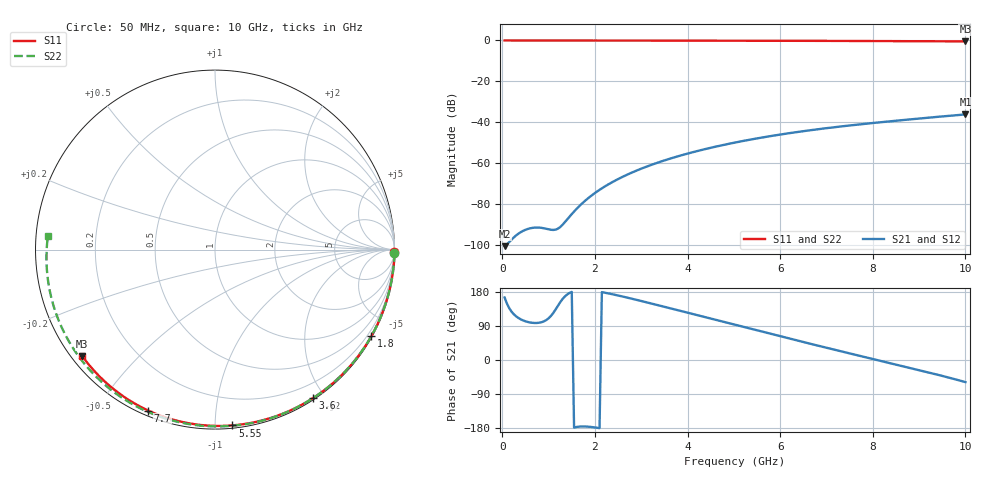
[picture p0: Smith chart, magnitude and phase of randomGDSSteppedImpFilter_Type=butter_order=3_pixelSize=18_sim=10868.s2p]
! freq	dB(S11)	phase(S11)	dB(S12)	phase(S12)
!  dB(S21)	phase(S21)	dB(S22)	phase(S22)
!S-par simulation data
#  GHz  S  DB  R 50
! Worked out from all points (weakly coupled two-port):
!   200 points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, 50 MHz to 10 GHz, reference 50 ohm
!   highest |S21| = -36.23 dB at 10 GHz (marker M1); lowest = -100.8 dB at 50 MHz (marker M2)
!   lowest |S11| = -0.5 dB at 10 GHz (marker M3), VSWR 37.73, Z = 1.49 - j17.6 ohm
!   |S11| at or under -10 dB: nowhere
!   |S22| runs from -0.6 to 0.0 dB; largest |S21 - S12| = 0
!   S11 on the Smith chart (normalised r, x): 50 MHz: open; 1.8 GHz: 0.03, -3.87; 3.6 GHz: 0.02, -1.86; 5.55 GHz: 0.02, -1.10; 7.7 GHz: 0.02, -0.67; 10 GHz: 0.03, -0.35
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0.05  -0.00 -0.8  -100.75 165.0  -100.75 165.0  -0.00 -1.1
0.45  -0.01 -7.3  -93.25 104.4  -93.25 104.4  -0.01 -9.7
0.85  -0.02 -13.8  -91.79 99.8  -91.79 99.8  -0.02 -18.2
1.25  -0.03 -20.2  -91.40 152.4  -91.40 152.4  -0.03 -26.7
1.7  -0.03 -27.4  -80.32 -175.5  -80.32 -175.5  -0.05 -36.0
1.75  -0.04 -28.2  -79.27 -175.4  -79.27 -175.4  -0.05 -37.1
1.8  -0.04 -29.0  -78.28 -175.5  -78.28 -175.5  -0.05 -38.1
2.1  -0.04 -33.7  -73.16 -179.8  -73.16 -179.8  -0.06 -44.2
2.3  -0.05 -36.8  -70.35 175.5  -70.35 175.5  -0.06 -48.3
2.5  -0.05 -39.9  -67.89 170.3  -67.89 170.3  -0.07 -52.3
2.9  -0.06 -46.0  -63.72 158.7  -63.72 158.7  -0.08 -60.2
3.4  -0.07 -53.6  -59.50 143.5  -59.50 143.5  -0.09 -69.9
3.6  -0.08 -56.5  -58.04 137.3  -58.04 137.3  -0.10 -73.7
4.3  -0.09 -66.8  -53.65 115.4  -53.65 115.4  -0.12 -86.7
5.05  -0.12 -77.4  -49.89 92.1  -49.89 92.1  -0.15 -100.2
5.55  -0.14 -84.3  -47.77 76.6  -47.77 76.6  -0.18 -108.9
6.1  -0.16 -91.7  -45.74 59.6  -45.74 59.6  -0.21 -118.3
6.7  -0.19 -99.7  -43.82 41.4  -43.82 41.4  -0.25 -128.5
7.7  -0.26 -112.5  -41.15 11.6  -41.15 11.6  -0.33 -145.1
8.35  -0.31 -120.7  -39.65 -7.5  -39.65 -7.5  -0.39 -156.0
9.2  -0.39 -131.3  -37.82 -32.7  -37.82 -32.7  -0.49 -170.4
10  -0.46 -141.2  -36.23 -58.3  -36.23 -58.3  -0.59 175.5
